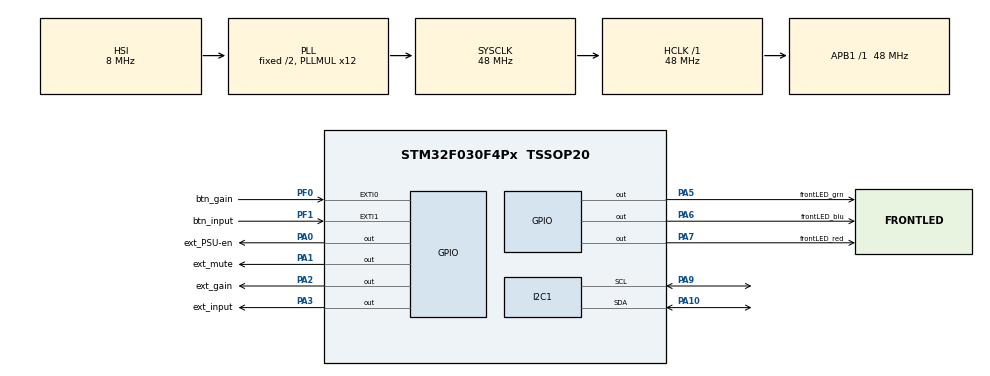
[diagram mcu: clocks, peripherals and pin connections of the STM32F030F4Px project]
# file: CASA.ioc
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I2C1.Timing=0x00201D2B
Mcu.Family=STM32F0
Mcu.Name=STM32F030F4Px
Mcu.Package=TSSOP20
NVIC.EXTI0_1_IRQn=true\:0\:0\:false\:false\:true\:true\:true\:true
PA0.GPIO_Label=ext_PSU-en
PA0.GPIO_PuPd=GPIO_PULLDOWN
PA0.PinState=GPIO_PIN_RESET
PA0.Signal=GPIO_Output
PA1.GPIO_Label=ext_mute
PA1.GPIO_PuPd=GPIO_PULLDOWN
PA1.PinState=GPIO_PIN_SET
PA1.Signal=GPIO_Output
PA10.Mode=I2C
PA10.Signal=I2C1_SDA
PA13.Mode=Serial_Wire
PA13.Signal=SYS_SWDIO
PA14.Mode=Serial_Wire
PA14.Signal=SYS_SWCLK
PA2.GPIO_Label=ext_gain
PA2.GPIO_PuPd=GPIO_PULLDOWN
PA2.PinState=GPIO_PIN_RESET
PA2.Signal=GPIO_Output
PA3.GPIO_Label=ext_input
PA3.GPIO_PuPd=GPIO_PULLDOWN
PA3.PinState=GPIO_PIN_RESET
PA3.Signal=GPIO_Output
PA5.GPIO_Label=frontLED_grn
PA5.GPIO_ModeDefaultOutputPP=GPIO_MODE_OUTPUT_PP
PA5.GPIO_PuPd=GPIO_PULLDOWN
PA5.PinState=GPIO_PIN_RESET
PA5.Signal=GPIO_Output
PA6.GPIO_Label=frontLED_blu
PA6.GPIO_ModeDefaultOutputPP=GPIO_MODE_OUTPUT_PP
PA6.GPIO_PuPd=GPIO_PULLDOWN
PA6.PinState=GPIO_PIN_RESET
PA6.Signal=GPIO_Output
PA7.GPIO_Label=frontLED_red
PA7.GPIO_ModeDefaultOutputPP=GPIO_MODE_OUTPUT_PP
PA7.GPIO_PuPd=GPIO_PULLDOWN
PA7.PinState=GPIO_PIN_RESET
PA7.Signal=GPIO_Output
PA9.Mode=I2C
PA9.Signal=I2C1_SCL
PF0-OSC_IN.GPIO_Label=btn_gain
PF0-OSC_IN.GPIO_ModeDefaultEXTI=GPIO_MODE_IT_FALLING
PF0-OSC_IN.GPIO_PuPd=GPIO_NOPULL
PF0-OSC_IN.Signal=GPXTI0
PF1-OSC_OUT.GPIO_Label=btn_input
PF1-OSC_OUT.GPIO_ModeDefaultEXTI=GPIO_MODE_IT_FALLING
PF1-OSC_OUT.GPIO_PuPd=GPIO_NOPULL
PF1-OSC_OUT.Signal=GPXTI1
ProjectManager.HeapSize=0x200
ProjectManager.StackSize=0x400
ProjectManager.TargetToolchain=CMake
RCC.AHBFreq_Value=48000000
RCC.APB1Freq_Value=48000000
RCC.APB1TimFreq_Value=48000000
RCC.HCLKFreq_Value=48000000
RCC.PLLMUL=RCC_PLL_MUL12
RCC.SYSCLKFreq_VALUE=48000000
RCC.SYSCLKSource=RCC_SYSCLKSOURCE_PLLCLK
board=custom

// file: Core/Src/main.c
/* USER CODE BEGIN Header */
/**
  ******************************************************************************
  * @file           : main.c
  * @brief          : Main program body
  ******************************************************************************
  * @attention
  *
  * Copyright (c) 2026 STMicroelectronics.
  * All rights reserved.
  *
  * This software is licensed under terms that can be found in the LICENSE file
  * in the root directory of this software component.
  * If no LICENSE file comes with this software, it is provided AS-IS.
  *
  ******************************************************************************
  */
/* USER CODE END Header */
#include "main.h"

/* USER CODE BEGIN Includes */
#include "PCA9536.h"
#include "stm32f0xx_hal.h"
#include "stm32f0xx_hal_gpio.h"
#include <stdint.h>
/* USER CODE END Includes */

/* USER CODE BEGIN PM */
#define RED 1
#define GREEN 2
#define BLUE 3

#define BOOTUP_TIME 2500
#define BLINK_TIME 250
#define BLINK_TIME_PCA 100
/* USER CODE END PM */

I2C_HandleTypeDef hi2c1;

/* USER CODE BEGIN PV */
//Button flags
volatile uint8_t btnFlag_gain  = 0;
volatile uint8_t btnFlag_input = 0;

uint8_t PCA9536_defaultOutput = 0x0A;

uint32_t Timestamp_ms;
uint32_t Timestamp_ms_led;
uint32_t Timestamp_ms_pca;
uint8_t firstBoot = 1;
/* USER CODE END PV */

void SystemClock_Config(void);
static void MX_GPIO_Init(void);
static void MX_I2C1_Init(void);

int main(void)
{

  /* MCU Configuration--------------------------------------------------------*/

  /* Reset of all peripherals, Initializes the Flash interface and the Systick. */
  HAL_Init();

  /* Configure the system clock */
  SystemClock_Config();

  /* Initialize all configured peripherals */
  MX_GPIO_Init();
  MX_I2C1_Init();
  /* USER CODE BEGIN 2 */

  //Set red led for boot
  frontLED_set(RED);

  //Setup the IO Expander via I2C
  PCA9536 pca9536;

  PCA9536_Init(&pca9536, &hi2c1);
  PCA9536_configPinOutput(&pca9536);                                                            //Set pinmode to output

  //Get timestamp for boot sequence
  Timestamp_ms = HAL_GetTick();
  Timestamp_ms_led = Timestamp_ms;
  /* USER CODE END 2 */

  /* Infinite loop */
  /* USER CODE BEGIN WHILE */

  //Boot animation and init
  uint8_t _counter_PCA = 0;

  #ifdef ANIMATION1
  uint8_t _animationArray1[4] = {0x0E, 0x0D, 0x0B, 0x07};
  #endif

  #ifdef ANIMATION2
  uint8_t _animationArray2[8] = {0x0F, 0x0E, 0x0C, 0x08, 0x00, 0x08, 0x0C, 0x0E};
  #endif

  while(firstBoot) {

    uint32_t _current_Timestamp_ms = HAL_GetTick();

    //Blink red led as long as analog circuitry needs to settle
    if(_current_Timestamp_ms >= Timestamp_ms_led+BLINK_TIME) {
      HAL_GPIO_TogglePin(frontLED_red_GPIO_Port, frontLED_red_Pin);
      Timestamp_ms_led = Timestamp_ms_led+BLINK_TIME;
    }

    //Cute little animation for bootup time
    if(_current_Timestamp_ms >= Timestamp_ms_pca+BLINK_TIME_PCA) {

      #ifdef ANIMATION1
      PCA9536_write(&pca9536, PCA9536_outputRegister, &_animationArray1[_counter_PCA]);

      if(_counter_PCA > 3) _counter_PCA = 0;
      #endif

      #ifdef ANIMATION2
      PCA9536_write(&pca9536, PCA9536_outputRegister, &_animationArray2[_counter_PCA]);

      if(_counter_PCA > 7) _counter_PCA = 0;
      #endif

      _counter_PCA++;
      Timestamp_ms_pca = Timestamp_ms_pca+BLINK_TIME_PCA;
    }

    //When settled, set front power led to green, deactivate mute and turn off first_boot-mode
    if(_current_Timestamp_ms > Timestamp_ms+BOOTUP_TIME) {
      frontLED_set(GREEN);
      mute(0);
      firstBoot = 0;
    }
  }

  PCA9536_write(&pca9536, PCA9536_outputRegister, &PCA9536_defaultOutput);      //Sets the defualt output (gain 0 and input 0)

  while (1)
  {

    if(btnFlag_gain) {
      PCA9536_switchPort(&pca9536, 0);
      HAL_GPIO_WritePin(ext_gain_GPIO_Port, ext_gain_Pin, pca9536._port0);
      btnFlag_gain = 0;
    }

    if(btnFlag_input) {
      PCA9536_switchPort(&pca9536, 1);
      HAL_GPIO_WritePin(ext_input_GPIO_Port, ext_input_Pin, pca9536._port1);
      btnFlag_input = 0;
    }
    /* USER CODE END WHILE */

  }
}

void SystemClock_Config(void)
{
  RCC_OscInitTypeDef RCC_OscInitStruct = {0};
  RCC_ClkInitTypeDef RCC_ClkInitStruct = {0};
  RCC_PeriphCLKInitTypeDef PeriphClkInit = {0};

  /** Initializes the RCC Oscillators according to the specified parameters
  * in the RCC_OscInitTypeDef structure.
  */
  RCC_OscInitStruct.OscillatorType = RCC_OSCILLATORTYPE_HSI;
  RCC_OscInitStruct.HSIState = RCC_HSI_ON;
  RCC_OscInitStruct.HSICalibrationValue = RCC_HSICALIBRATION_DEFAULT;
  RCC_OscInitStruct.PLL.PLLState = RCC_PLL_ON;
  RCC_OscInitStruct.PLL.PLLSource = RCC_PLLSOURCE_HSI;
  RCC_OscInitStruct.PLL.PLLMUL = RCC_PLL_MUL12;
  RCC_OscInitStruct.PLL.PREDIV = RCC_PREDIV_DIV1;
  if (HAL_RCC_OscConfig(&RCC_OscInitStruct) != HAL_OK)
  {
    Error_Handler();
  }

  /** Initializes the CPU, AHB and APB buses clocks
  */
  RCC_ClkInitStruct.ClockType = RCC_CLOCKTYPE_HCLK|RCC_CLOCKTYPE_SYSCLK
                              |RCC_CLOCKTYPE_PCLK1;
  RCC_ClkInitStruct.SYSCLKSource = RCC_SYSCLKSOURCE_PLLCLK;
  RCC_ClkInitStruct.AHBCLKDivider = RCC_SYSCLK_DIV1;
  RCC_ClkInitStruct.APB1CLKDivider = RCC_HCLK_DIV1;

  if (HAL_RCC_ClockConfig(&RCC_ClkInitStruct, FLASH_LATENCY_1) != HAL_OK)
  {
    Error_Handler();
  }
  PeriphClkInit.PeriphClockSelection = RCC_PERIPHCLK_I2C1;
  PeriphClkInit.I2c1ClockSelection = RCC_I2C1CLKSOURCE_HSI;
  if (HAL_RCCEx_PeriphCLKConfig(&PeriphClkInit) != HAL_OK)
  {
    Error_Handler();
  }
}

static void MX_I2C1_Init(void)
{

  hi2c1.Instance = I2C1;
  hi2c1.Init.Timing = 0x00201D2B;
  hi2c1.Init.OwnAddress1 = 0;
  hi2c1.Init.AddressingMode = I2C_ADDRESSINGMODE_7BIT;
  hi2c1.Init.DualAddressMode = I2C_DUALADDRESS_DISABLE;
  hi2c1.Init.OwnAddress2 = 0;
  hi2c1.Init.OwnAddress2Masks = I2C_OA2_NOMASK;
  hi2c1.Init.GeneralCallMode = I2C_GENERALCALL_DISABLE;
  hi2c1.Init.NoStretchMode = I2C_NOSTRETCH_DISABLE;
  if (HAL_I2C_Init(&hi2c1) != HAL_OK)
  {
    Error_Handler();
  }

  /** Configure Analogue filter
  */
  if (HAL_I2CEx_ConfigAnalogFilter(&hi2c1, I2C_ANALOGFILTER_ENABLE) != HAL_OK)
  {
    Error_Handler();
  }

  /** Configure Digital filter
  */
  if (HAL_I2CEx_ConfigDigitalFilter(&hi2c1, 0) != HAL_OK)
  {
    Error_Handler();
  }

}

static void MX_GPIO_Init(void)
{
  GPIO_InitTypeDef GPIO_InitStruct = {0};

  /* GPIO Ports Clock Enable */
  __HAL_RCC_GPIOF_CLK_ENABLE();
  __HAL_RCC_GPIOA_CLK_ENABLE();

  /*Configure GPIO pin Output Level */
  HAL_GPIO_WritePin(GPIOA, ext_PSU_en_Pin|ext_gain_Pin|ext_input_Pin|frontLED_grn_Pin
                          |frontLED_blu_Pin|frontLED_red_Pin, GPIO_PIN_RESET);

  /*Configure GPIO pin Output Level */
  HAL_GPIO_WritePin(ext_mute_GPIO_Port, ext_mute_Pin, GPIO_PIN_SET);

  /*Configure GPIO pins : btn_gain_Pin btn_input_Pin */
  GPIO_InitStruct.Pin = btn_gain_Pin|btn_input_Pin;
  GPIO_InitStruct.Mode = GPIO_MODE_IT_FALLING;
  GPIO_InitStruct.Pull = GPIO_NOPULL;
  HAL_GPIO_Init(GPIOF, &GPIO_InitStruct);

  /*Configure GPIO pins : ext_PSU_en_Pin ext_mute_Pin ext_gain_Pin ext_input_Pin
                           frontLED_grn_Pin frontLED_blu_Pin frontLED_red_Pin */
  GPIO_InitStruct.Pin = ext_PSU_en_Pin|ext_mute_Pin|ext_gain_Pin|ext_input_Pin
                          |frontLED_grn_Pin|frontLED_blu_Pin|frontLED_red_Pin;
  GPIO_InitStruct.Mode = GPIO_MODE_OUTPUT_PP;
  GPIO_InitStruct.Pull = GPIO_PULLDOWN;
  GPIO_InitStruct.Speed = GPIO_SPEED_FREQ_LOW;
  HAL_GPIO_Init(GPIOA, &GPIO_InitStruct);

  /* EXTI interrupt init*/
  HAL_NVIC_SetPriority(EXTI0_1_IRQn, 0, 0);
  HAL_NVIC_EnableIRQ(EXTI0_1_IRQn);

}

/* USER CODE BEGIN 4 */

/**
 * @brief Sets front leds, only one colour at a time
 * @param led:
 *  1 -> RED
 *  2 -> GREEN
 *  3 -> BLUE
 */
void frontLED_set(uint8_t led) {
  switch (led) {
    case 1:
      HAL_GPIO_WritePin(frontLED_red_GPIO_Port, frontLED_red_Pin, 1);
      HAL_GPIO_WritePin(frontLED_grn_GPIO_Port, frontLED_grn_Pin, 0);
      HAL_GPIO_WritePin(frontLED_blu_GPIO_Port, frontLED_blu_Pin, 0);
      break;
    case 2:
      HAL_GPIO_WritePin(frontLED_red_GPIO_Port, frontLED_red_Pin, 0);
      HAL_GPIO_WritePin(frontLED_grn_GPIO_Port, frontLED_grn_Pin, 1);
      HAL_GPIO_WritePin(frontLED_blu_GPIO_Port, frontLED_blu_Pin, 0);
      break;
    case 3:
      HAL_GPIO_WritePin(frontLED_red_GPIO_Port, frontLED_red_Pin, 0);
      HAL_GPIO_WritePin(frontLED_grn_GPIO_Port, frontLED_grn_Pin, 0);
      HAL_GPIO_WritePin(frontLED_blu_GPIO_Port, frontLED_blu_Pin, 1);
      break;
    default:
      HAL_GPIO_WritePin(frontLED_red_GPIO_Port, frontLED_red_Pin, 0);
      HAL_GPIO_WritePin(frontLED_grn_GPIO_Port, frontLED_grn_Pin, 0);
      HAL_GPIO_WritePin(frontLED_blu_GPIO_Port, frontLED_blu_Pin, 0);
      break;
  }
}

/**
 * @brief Sets the mute relay
 * @param value:
 * 0 -> mute off
 * 1 -> mute on
 */
void mute(uint8_t value) {
  HAL_GPIO_WritePin(ext_mute_GPIO_Port, ext_mute_Pin, value);
}

void HAL_GPIO_EXTI_Callback(uint16_t GPIO_Pin) {
  if(GPIO_Pin == btn_gain_Pin) btnFlag_gain = 1;
  if(GPIO_Pin == btn_input_Pin) btnFlag_input = 1;
}
/* USER CODE END 4 */

void Error_Handler(void)
{
  __disable_irq();
  while (1)
  {
  }
}
